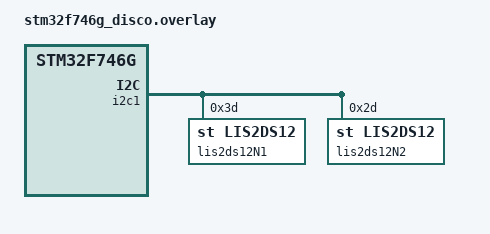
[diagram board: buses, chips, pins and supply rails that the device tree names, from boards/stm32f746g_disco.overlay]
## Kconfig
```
# Copyright (c) 2025 Antmicro <www.antmicro.com>
#
# SPDX-License-Identifier: Apache-2.0

menu "Zephyr"
source "Kconfig.zephyr"
endmenu

config KENNING_PROTOCOL_INTEGRATION
    bool "Max sum of channels in available sensors"
    default n
    depends on PROVIDER_LIB && ANOMALY_LIB && KENNING_COMMUNICATION_PROTOCOL_UART && KENNING_INFERENCE_LIB

config PROCESSING_DELAY
    int "Expected time [ms] of processing for a single model sample"
    default 50
    depends on PROVIDER_LIB && ANOMALY_LIB


module = APP
module-str = app
source "subsys/logging/Kconfig.template.log_config"
```

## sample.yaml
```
sample:
  name: anomaly
common:
  platform_allow:
    - stm32f746g_disco
tests:
  sample.anomaly.emlearn.robot:
    extra_configs:
      - CONFIG_EMLEARN=y
      - CONFIG_ANOMALY_LIB_BACKEND_EMLEARN=y
      - CONFIG_ANOMALY_LIB_EMLEARN_MODEL_PATH="emlearn_model.gz"
    harness: robot
    harness_config:
      robot_testsuite: emlearn.robot
  sample.anomaly.kenning.robot:
    extra_configs:
      - CONFIG_CPP=y
      - CONFIG_STD_CPP17=y
      - CONFIG_NEWLIB_LIBC=y
      - CONFIG_NEWLIB_LIBC_NANO=y
      - CONFIG_NEWLIB_LIBC_FLOAT_PRINTF=y
      - CONFIG_MAIN_STACK_SIZE=4096
      - CONFIG_SERIAL=y
      - CONFIG_FPU=y
      - CONFIG_BUILD_WITH_TFM=n
      - CONFIG_HEAP_MEM_POOL_SIZE=2048
      - CONFIG_KENNING_INFERENCE_LIB=y
      - CONFIG_KENNING_ML_RUNTIME_TFLITE=y
      - CONFIG_KENNING_TFLITE_BUFFER_SIZE=40
      - CONFIG_ANOMALY_LIB_BACKEND_KENNING=y
      - CONFIG_KENNING_MODEL_PATH="kenning_tflite_model.tflite"
    harness: robot
    harness_config:
      robot_testsuite: kenning.robot
```

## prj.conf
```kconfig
CONFIG_SENSOR=y
CONFIG_PROVIDER_LIB=y
CONFIG_ANOMALY_LIB=y
CONFIG_LIS2DS12=y
CONFIG_CBPRINTF_FP_SUPPORT=y
```

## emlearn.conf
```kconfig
# Copyright (c) 2025 Antmicro <www.antmicro.com>
#
# SPDX-License-Identifier: Apache-2.0


CONFIG_EMLEARN=y
CONFIG_ANOMALY_LIB_BACKEND_EMLEARN=y

CONFIG_KENNING_INFERENCE_LIB=y
CONFIG_KENNING_COMMUNICATION_PROTOCOL_UART=y
CONFIG_KENNING_PROTOCOL_INTEGRATION=y
```

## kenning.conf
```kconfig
# Copyright (c) 2025 Antmicro <www.antmicro.com>
#
# SPDX-License-Identifier: Apache-2.0


CONFIG_CPP=y
CONFIG_STD_CPP17=y
CONFIG_NEWLIB_LIBC=y
CONFIG_NEWLIB_LIBC_NANO=y
CONFIG_NEWLIB_LIBC_FLOAT_PRINTF=y
CONFIG_MAIN_STACK_SIZE=4096
CONFIG_SERIAL=y
CONFIG_FPU=y
CONFIG_BUILD_WITH_TFM=n
CONFIG_HEAP_MEM_POOL_SIZE=2048

CONFIG_KENNING_INFERENCE_LIB=y
CONFIG_KENNING_ML_RUNTIME_TFLITE=y
CONFIG_KENNING_TFLITE_BUFFER_SIZE=64

CONFIG_ANOMALY_LIB_BACKEND_KENNING=y
CONFIG_KENNING_COMMUNICATION_PROTOCOL_UART=y
CONFIG_KENNING_PROTOCOL_INTEGRATION=y

CONFIG_ANOMALY_LIB_KENNING_MAX_INPUT_COUNT=256
```

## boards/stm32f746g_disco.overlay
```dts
&i2c1 {
    lis2ds12N1: lis2ds12@3d {
        compatible = "st,lis2ds12";
        reg = <0x3d>;
        status = "okay";
    };
    lis2ds12N2: lis2ds12@2d {
        compatible = "st,lis2ds12";
        reg = <0x2d>;
        status = "okay";
    };
};

/ {
    aliases {
        kcomms = &usart6;
    };
};
```

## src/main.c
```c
/*
 * Copyright (c) 2025 Antmicro <www.antmicro.com>
 *
 * SPDX-License-Identifier: Apache-2.0
 */

#include <zephyr/kernel.h>

#include <stdio.h>

#include <anomaly_lib/detector.h>
#include <provider_lib/provider.h>
#include <provider_lib/providers/sensor.h>

#include <kenning_inference_lib/core/kenning_protocol.h>
#include <kenning_inference_lib/core/loaders.h>

/**
 * 32-bit equivalent of `k_uptime_delta`.
 */
static inline uint32_t time_delta(int32_t *time)
{
    uint32_t cur_time = k_uptime_get_32();
    int64_t delta64 = (int64_t)cur_time - *time;
    if (delta64 < 0)
    {
        delta64 += UINT32_MAX;
    }
    *time = cur_time;

    return (uint32_t)delta64;
}

#ifdef CONFIG_KENNING_PROTOCOL_INTEGRATION

struct msg_loader *msg_loader_picker(message_type_t type)
{
    static uint8_t payload_buffer[128];
    static struct msg_loader ldr = MSG_LOADER_BUF(payload_buffer, sizeof(payload_buffer));
    return &ldr;
}

/**
 * Initializes the Kenning protocol and performs the handshake.
 */
int initialize_protocol()
{
    int status;

    status = protocol_init();
    if (status)
    {
        printk("Protocol init failed: %d\n", status);
        return status;
    }

    protocol_event_t recv_event;

    status = protocol_listen(&recv_event, msg_loader_picker);

    if (status)
    {
        printk("Protocol listen failed: %d\n", status);
        return status;
    }

    if (recv_event.message_type != MESSAGE_TYPE_PING || !recv_event.flags.general_purpose_flags.success)
    {
        printk("Invalid message received");
        return -1;
    }

    protocol_event_t send_event = {0};
    send_event.flags.general_purpose_flags.success = 1;
    send_event.message_type = MESSAGE_TYPE_PING;
    send_event.payload.size = 0;

    status = protocol_transmit(&send_event);

    if (status)
    {
        printk("Failed to respond: %d\n", status);
        return status;
    }

    return 0;
}
#else
int initialize_protocol() { return -1; }
#endif // CONFIG_KENNING_PROTOCOL_INTEGRATION

#ifdef CONFIG_KENNING_PROTOCOL_INTEGRATION

/**
 * Sends results via Kenning protocol.
 */
int send_score(float score)
{
    static float output_buffer[128];
    output_buffer[0] = score;
    output_buffer[1] = 1 - score;

    protocol_event_t send_event = {0};
    send_event.flags.general_purpose_flags.success = 1;
    send_event.message_type = MESSAGE_TYPE_OUTPUT;
    send_event.payload.size = 2 * sizeof(float);
    send_event.payload.raw_bytes = (uint8_t *)output_buffer;

    protocol_transmit(&send_event);
}
#else
int send_score(float score) { return 0; }
#endif // CONFIG_KENNING_PROTOCOL_INTEGRATION

int main()
{
    int status;
    static struct provider_reader pr = {
        .dst_N = 0,
        .ps_N = 0,
    };

    static float buffer[128];
    static struct provider_hdr_entry hdr[128];

    status = provider_reader_register_all_sensor(&pr);
    if (status)
    {
        printk("Sensor registration failed: %d\n", status);
        return -1;
    }

    status = provider_reader_hdr(&pr, hdr);
    if (status)
    {
        printk("Header generation failed: %d\n", status);
        return -1;
    }

    if (sizeof(buffer) / sizeof(buffer[0]) < pr.dst_N)
    {
        printk("Insufficient buffer size: %u < %u", sizeof(buffer) / sizeof(buffer[0]), pr.dst_N);
        return -1;
    }

    int protocol_initialized = !initialize_protocol();

    uint32_t i = 0;
    while (1)
    {
        printf("%d_%d", hdr[i].provider_id, hdr[i].chan);
        if (++i < pr.dst_N)
        {
            putchar(',');
            continue;
        }
        puts("");
        break;
    }

    status = detector_init();
    if (status)
    {
        printk("Detector init failed: %d\n", status);
        return -1;
    }

    uint32_t sample_count = 0;

    float score;

    uint32_t tstart, telapsed;

    while (1)
    {
        tstart = k_uptime_get_32();
        status = provider_reader_read_all(&pr, buffer);

        if (status)
        {
            printk("Sensor read failed: %d\n", status);
            return -1;
        }

        uint32_t i = 0;
        while (1)
        {
            printf("%f", buffer[i]);
            if (++i < pr.dst_N)
            {
                putchar(',');
                continue;
            }
            break;
        }

        status = detector_detect(buffer, &score);

        if (status)
        {
            printk("Detector failed: %d\n", status);
            return -1;
        }

        printf(",%f", score);
        puts("");

        if (protocol_initialized)
        {
            send_score(score);
        }

        telapsed = time_delta(&tstart);

        int32_t to_wait = CONFIG_PROCESSING_DELAY - telapsed;
        if (to_wait > 0)
        {
            k_msleep(to_wait);
        }
        else
        {
            printf("Detection too slow: %d\n", (int32_t)telapsed);
        }
    }
}
```

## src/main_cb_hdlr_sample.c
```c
/*
 * Copyright (c) 2025 Antmicro <www.antmicro.com>
 *
 * SPDX-License-Identifier: Apache-2.0
 */

#include "zephyr/kernel/thread_stack.h"
#include <string.h>
#include <zephyr/kernel.h>

#include <stdatomic.h>
#include <stdio.h>

#include <anomaly_lib/detector.h>
#include <provider_lib/provider.h>
#include <provider_lib/providers/sensor.h>

#include <kenning_inference_lib/core/kenning_protocol.h>
#include <kenning_inference_lib/core/loaders.h>

/**
 * 32-bit equivalent of `k_uptime_delta`.
 */
static inline uint32_t time_delta(int32_t *time)
{
    uint32_t cur_time = k_uptime_get_32();
    int64_t delta64 = (int64_t)cur_time - *time;
    if (delta64 < 0)
    {
        delta64 += UINT32_MAX;
    }
    *time = cur_time;

    return (uint32_t)delta64;
}

#ifdef CONFIG_KENNING_PROTOCOL_INTEGRATION

struct msg_loader *msg_loader_picker(message_type_t type)
{
    static uint8_t payload_buffer[128];
    static struct msg_loader ldr = MSG_LOADER_BUF(payload_buffer, sizeof(payload_buffer));
    return &ldr;
}

/**
 * Initializes the Kenning protocol and performs the handshake.
 */
int initialize_protocol()
{
    int status;

    status = protocol_init();
    if (status)
    {
        printk("Protocol init failed: %d\n", status);
        return status;
    }

    protocol_event_t recv_event;

    status = protocol_listen(&recv_event, msg_loader_picker);

    if (status)
    {
        printk("Protocol listen failed: %d\n", status);
        return status;
    }

    if (recv_event.message_type != MESSAGE_TYPE_PING || !recv_event.flags.general_purpose_flags.success)
    {
        printk("Invalid message received");
        return -1;
    }

    protocol_event_t send_event = {0};
    send_event.flags.general_purpose_flags.success = 1;
    send_event.message_type = MESSAGE_TYPE_PING;
    send_event.payload.size = 0;

    status = protocol_transmit(&send_event);

    if (status)
    {
        printk("Failed to respond: %d\n", status);
        return status;
    }

    return 0;
}
#else
int initialize_protocol() { return -1; }
#endif // CONFIG_KENNING_PROTOCOL_INTEGRATION

#ifdef CONFIG_KENNING_PROTOCOL_INTEGRATION

/**
 * Sends results via Kenning protocol.
 */
int send_score(float score)
{
    static float output_buffer[128];
    output_buffer[0] = score;
    output_buffer[1] = 1 - score;

    protocol_event_t send_event = {0};
    send_event.flags.general_purpose_flags.success = 1;
    send_event.message_type = MESSAGE_TYPE_OUTPUT;
    send_event.payload.size = 2 * sizeof(float);
    send_event.payload.raw_bytes = (uint8_t *)output_buffer;

    protocol_transmit(&send_event);
}
#else
int send_score(float score) { return 0; }
#endif // CONFIG_KENNING_PROTOCOL_INTEGRATION

static void sample_cb(void *ctx, float score) { printf("Anomaly detected with probability %.5f\n", score); }

static void another_sample_cb(void *ctx, float score)
{
    printf("[%s] Anomaly detected with probability %.5f\n", (char *)ctx, score);
}

int main()
{
    int status;

    static struct provider_reader pr = {
        .dst_N = 0,
        .ps_N = 0,
    };

    static float buffer[128];
    static struct provider_hdr_entry hdr[128];

    status = provider_reader_register_all_sensor(&pr);
    if (status)
    {
        printk("Sensor registration failed: %d\n", status);
        return -1;
    }

    status = provider_reader_hdr(&pr, hdr);
    if (status)
    {
        printk("Header generation failed: %d\n", status);
        return -1;
    }

    if (sizeof(buffer) / sizeof(buffer[0]) < pr.dst_N)
    {
        printk("Insufficient buffer size: %u < %u", sizeof(buffer) / sizeof(buffer[0]), pr.dst_N);
        return -1;
    }

    int protocol_initialized = !initialize_protocol();

    uint32_t i = 0;

    status = detector_init();
    if (status)
    {
        printk("Detector init failed: %d\n", status);
        return -1;
    }

    uint32_t sample_count = 0;

    float score;

    uint32_t tstart, telapsed;

    status = detector_classifier_init(&g_detector, 0.5, 100ll, 0);
    if (status)
    {
        printk("Classifier init failed: %d\n", status);
        return -1;
    }

    status = detector_classifier_register_cb(&g_detector, sample_cb, NULL);
    if (status)
    {
        printk("Failed to register callback: %d\n", status);
        return -1;
    }

    const char *prefix_str = "prefix_str";
    status = detector_classifier_register_cb(&g_detector, another_sample_cb, (void *)prefix_str);
    if (status)
    {
        printk("Failed to register another callback: %d\n", status);
        return -1;
    }

    status = detector_classifier_start(&g_detector, 5);
    if (status)
    {
        printk("Faile to start classifier: %d\n", status);
        return -1;
    }

    while (1)
    {
        tstart = k_uptime_get_32();
        status = provider_reader_read_all(&pr, buffer);

        if (status)
        {
            printk("Sensor read failed: %d\n", status);
            return -1;
        }

        status = detector_detect(buffer, &score);

        if (status)
        {
            printk("Detector failed: %d\n", status);
            return -1;
        }

        detector_classifier_submit_sample(&g_detector, score);

        if (protocol_initialized)
        {
            send_score(score);
        }

        telapsed = time_delta(&tstart);

        int32_t to_wait = CONFIG_PROCESSING_DELAY - telapsed;
        if (to_wait > 0)
        {
            k_msleep(to_wait);
        }
        else
        {
            printf("Detection too slow: %d\n", (int32_t)telapsed);
        }
    }

    detector_classifier_deinit(&g_detector);
}
```
